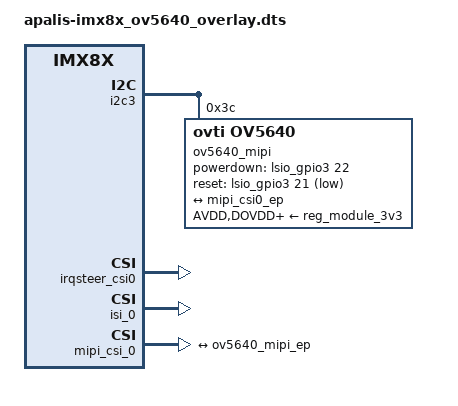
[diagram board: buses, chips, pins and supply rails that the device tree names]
// SPDX-License-Identifier: GPL-2.0-or-later OR MIT
/*
 * Copyright 2021 Toradex
 */

// CSI Camera Module 5MP OV5640 previously orderable at Toradex.

/dts-v1/;
/plugin/;

#include <dt-bindings/gpio/gpio.h>

/ {
	compatible = "toradex,apalis-imx8x";
};

/* Apalis I2C3 (CAM) */
&i2c3 {
	#address-cells = <1>;
	#size-cells = <0>;
	status = "okay";

	ov5640_mipi@3c {
		AVDD-supply = <&reg_module_3v3>;
		compatible = "ovti,ov5640";
		clocks = <&xtal24m>;
		clock-names = "xclk";
		csi_id = <0>;
		DOVDD-supply = <&reg_module_3v3>;
		DVDD-supply = <&reg_module_3v3>;
		mclk = <24000000>;
		mclk_source = <0>;
		mipi_csi;
		pinctrl-names = "default";
		pinctrl-0 = <&pinctrl_gpio1>, <&pinctrl_gpio2>;
		powerdown-gpios = <&lsio_gpio3 22 GPIO_ACTIVE_HIGH>;	/* Apalis GPIO2 */
		reg = <0x3c>;
		reset-gpios = <&lsio_gpio3 21 GPIO_ACTIVE_LOW>;		/* Apalis GPIO1 */
		status = "okay";

		port {
			ov5640_mipi_ep: endpoint {
				clock-lanes = <0>;
				data-lanes = <1 2>;
				remote-endpoint = <&mipi_csi0_ep>;
			};
		};
	};
};

&irqsteer_csi0 {
	status = "okay";
};

&isi_0 {
	/**
	 * interface = <Input MIPI_VCx Output>
	 * Input:	0-DC0, 1-DC1, 2-MIPI CSI0, 3-MIPI CSI1, 4-HDMI, 5-MEM, INPUT: 6-PARALLEL CSI
	 * MIPI_VCx:	0-VC0, 1-VC1, 2-VC2, 3-VC3, MIPI CSI only
	 * Output:	0-DC0, 1-DC1, 2-MEM
	 */
	interface = <2 0 2>;
	status = "okay";

	cap_device {
		status = "okay";
	};

	m2m_device {
		status = "okay";
	};
};

&mipi_csi_0 {
	#address-cells = <1>;
	#size-cells = <0>;
	/delete-property/virtual-channel;
	status = "okay";

	/* Camera 0 MIPI CSI-2 (CSIS0) */
	port@0 {
		reg = <0>;

		mipi_csi0_ep: endpoint {
			bus-type = <4>;
			data-lanes = <1 2>;
			remote-endpoint = <&ov5640_mipi_ep>;
		};
	};
};
